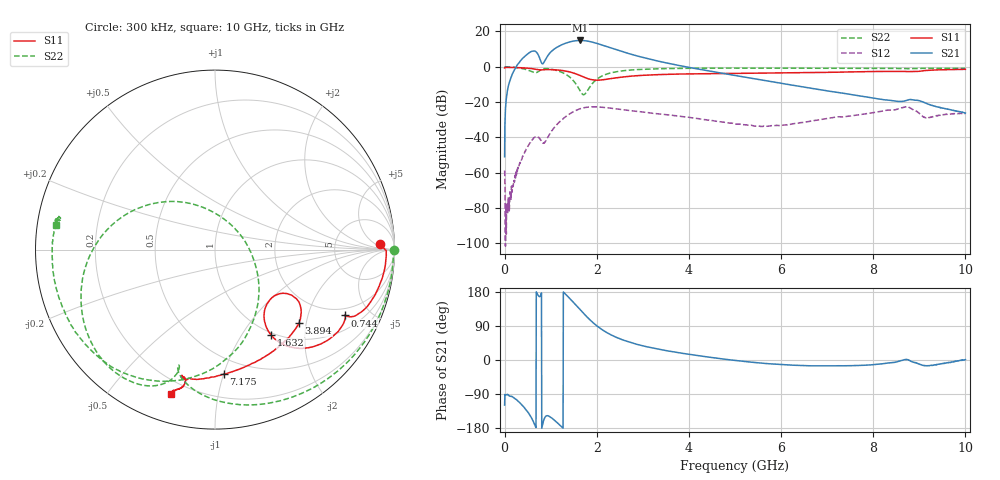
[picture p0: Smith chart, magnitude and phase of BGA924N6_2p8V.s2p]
! (c) 2013 Infineon Technologies AG
! BGA924N6 - SiGe GNSS Low Noise Amplifier (LNA)
! 05 September 2013
! BGA924N6 Sample on Standard Application Board
! C1 = 0.2 ohm (Jumper)
! L1 = 1 uF
! C2 = 100 nF
! VCC = 2.8 V
! RF input and output lines de-embedded
! Port 1 reference plane: LNA input AI (pin 5)
! Port 2 reference plane: LNA output AO (pin 3)
! Network Data:
! Measured BGA924N6 device level s-parameters 29.08.2013
# Hz S dB R 50
!  f  Mag(S11)  Pha(S11)  Mag(S21)  Pha(S21)  Mag(S12)  Pha(S12)  Mag(S22)  Pha(S22)
!  Hz  dB  deg  dB  deg  dB  deg  dB  deg
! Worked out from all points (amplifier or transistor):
!   1601 points, 300 kHz to 10 GHz, reference 50 ohm
!   highest |S21| = 14.8 dB at 1.638 GHz (marker M1)
!   |S21| within 3 dB of that: 1.195 GHz to 2.164 GHz (969.5 MHz wide, 57.7 % of centre)
!   unconditionally stable (mu >= 1): start of sweep to end of sweep
!   at 1.663 GHz: K = 1.20, MAG = 16.5 dB, |S12| = -23.6 dB
!   at 5 GHz: K = 3.88, MAG = 4.9 dB, |S12| = -32.4 dB
!   at 10 GHz: K = 11.95, MAG = -13.7 dB, |S12| = -26.4 dB
!   lowest NFmin = 0.58 dB at 1.55 GHz
!   S11 on the Smith chart (normalised r, x): 300 kHz: 20, +8; 744 MHz: 1.62, -3.50; 1.632 GHz: 0.97, -1.36; 3.894 GHz: 1.36, -1.81; 7.175 GHz: 0.37, -1.00; 10 GHz: 0.13, -0.73
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300000  -0.75 2.1  -51.01 -119.0  -58.79 -143.6  -0.05 0.0
1.127966e8  -0.42 -4.5  -8.21 -95.4  -75.26 -163.9  -0.13 -25.2
4.815356e8  -0.81 -19.2  6.89 -133.6  -46.24 164.7  -1.73 -93.5
6.377809e8  -1.29 -25.4  8.87 -166.2  -40.21 142.7  -3.31 -107.6
7.440277e8  -1.79 -26.8  5.90 168.1  -40.07 117.9  -2.57 -107.8
8.690239e8  -1.72 -28.0  3.14 -152.7  -42.72 141.4  -1.13 -125.9
9.815206e8  -1.67 -32.0  7.74 -149.7  -38.02 159.5  -1.29 -143.1
1.112767e9  -1.81 -37.3  10.63 -162.4  -33.45 155.3  -2.04 -160.8
1.400258e9  -2.90 -50.1  13.90 164.2  -26.93 131.2  -5.61 157.2
1.631501e9  -4.92 -56.8  14.83 133.8  -23.88 106.1  -13.39 95.1
1.637751e9  -4.98 -56.8  14.83 132.9  -23.82 105.4  -13.67 91.9
1.669e9  -5.34 -56.8  14.81 128.8  -23.60 102.0  -14.97 74.2
1.887743e9  -7.36 -49.2  14.00 102.0  -22.73 79.3  -10.06 -38.9
2.243983e9  -6.98 -33.0  11.13 70.6  -23.32 53.7  -3.97 -86.9
2.718968e9  -5.43 -31.3  7.22 46.7  -24.83 36.7  -1.93 -113.8
3.3377e9  -4.51 -36.3  3.11 28.7  -26.71 26.8  -1.18 -132.5
3.893933e9  -4.14 -41.2  0.12 17.0  -28.34 22.9  -0.95 -145.0
5.00015e9  -3.83 -53.4  -4.98 -1.2  -32.38 32.9  -0.81 -166.0
6.66885e9  -3.35 -78.5  -12.28 -15.3  -30.72 86.4  -0.88 174.5
7.175085e9  -3.15 -86.1  -14.38 -15.3  -28.50 90.5  -0.93 171.8
8.33755e9  -2.73 -101.2  -18.98 -7.7  -24.56 88.9  -0.98 168.6
1e10  -1.51 -107.0  -26.27 1.1  -26.39 97.1  -0.97 171.1
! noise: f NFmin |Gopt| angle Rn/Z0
1.55e+09  0.583  0.4909  38.72  0.1725
1.557e+09  0.5835  0.4905  38.89  0.1724
1.564e+09  0.5841  0.49  39.06  0.1722
1.571e+09  0.5846  0.4896  39.23  0.172
1.578e+09  0.5852  0.4892  39.39  0.1719
1.586e+09  0.5859  0.4887  39.58  0.1717
1.593e+09  0.5865  0.4883  39.75  0.1716
1.6e+09  0.5871  0.4879  39.92  0.1714
1.607e+09  0.5878  0.4874  40.08  0.1713
1.615e+09  0.5885  0.487  40.27  0.1711
